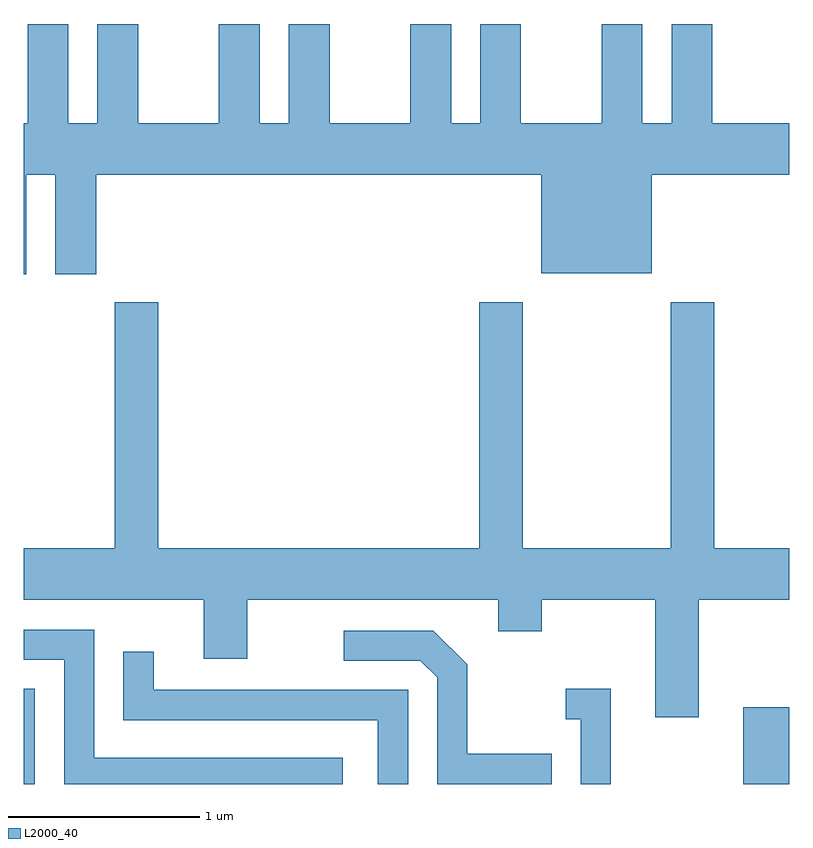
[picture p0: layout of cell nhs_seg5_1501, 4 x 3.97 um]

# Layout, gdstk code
import gdstk
lib = gdstk.Library(unit=1e-6, precision=1e-09)
def R(c, l, rs):  # rectangles x0, y0, x1, y1
    for r in rs: c.add(gdstk.rectangle(r[:2], r[2:], *l))
def P(c, l, *ps):  # polygons
    for p in ps: c.add(gdstk.Polygon(p, *l))
L2000_40 = (2000, 40)

nhs_seg5_1501 = lib.new_cell('nhs_seg5_1501')
R(nhs_seg5_1501, L2000_40, [(229.611,1438.072,229.669,1438.569), (233.371,1438.072,233.611,1438.474)])
P(nhs_seg5_1501, L2000_40, [(229.624,1441.256),(229.776,1441.256),(229.776,1440.736),(229.989,1440.736),(229.989,1441.256),(232.316,1441.256),(232.316,1440.741),(232.894,1440.741),(232.894,1441.256),(233.611,1441.256),(233.611,1441.524),(233.209,1441.524),(233.209,1442.044),(232.996,1442.044),(232.996,1441.524),(232.844,1441.524),(232.844,1442.044),(232.631,1442.044),(232.631,1441.524),(232.209,1441.524),(232.209,1442.044),(231.996,1442.044),(231.996,1441.524),(231.844,1441.524),(231.844,1442.044),(231.631,1442.044),(231.631,1441.524),(231.209,1441.524),(231.209,1442.044),(230.996,1442.044),(230.996,1441.524),(230.844,1441.524),(230.844,1442.044),(230.631,1442.044),(230.631,1441.524),(230.209,1441.524),(230.209,1442.044),(229.996,1442.044),(229.996,1441.524),(229.844,1441.524),(229.844,1442.044),(229.631,1442.044),(229.631,1441.524),(229.611,1441.524),(229.611,1440.736),(229.624,1440.736)],
  [(233.139,1439.036),(233.611,1439.036),(233.611,1439.304),(233.219,1439.304),(233.219,1440.589),(232.991,1440.589),(232.991,1439.304),(232.219,1439.304),(232.219,1440.589),(231.991,1440.589),(231.991,1439.304),(230.314,1439.304),(230.314,1440.589),(230.086,1440.589),(230.086,1439.304),(229.611,1439.304),(229.611,1439.036),(230.551,1439.036),(230.551,1438.726),(230.779,1438.726),(230.779,1439.036),(232.091,1439.036),(232.091,1438.871),(232.319,1438.871),(232.319,1439.036),(232.911,1439.036),(232.911,1438.421),(233.139,1438.421)],
  [(231.279,1438.209),(229.979,1438.209),(229.979,1438.879),(229.611,1438.879),(229.611,1438.721),(229.821,1438.721),(229.821,1438.072),(231.279,1438.072)],
  [(232.369,1438.229),(231.929,1438.229),(231.929,1438.697),(231.752,1438.874),(231.283,1438.874),(231.283,1438.716),(231.684,1438.716),(231.771,1438.629),(231.771,1438.072),(232.369,1438.072)],
  [(231.619,1438.564),(230.289,1438.564),(230.289,1438.763),(230.131,1438.763),(230.131,1438.406),(231.461,1438.406),(231.461,1438.072),(231.619,1438.072)],
  [(232.679,1438.569),(232.443,1438.569),(232.443,1438.411),(232.521,1438.411),(232.521,1438.072),(232.679,1438.072)])

lib.write_gds('nhs_seg5_1501.gds')
